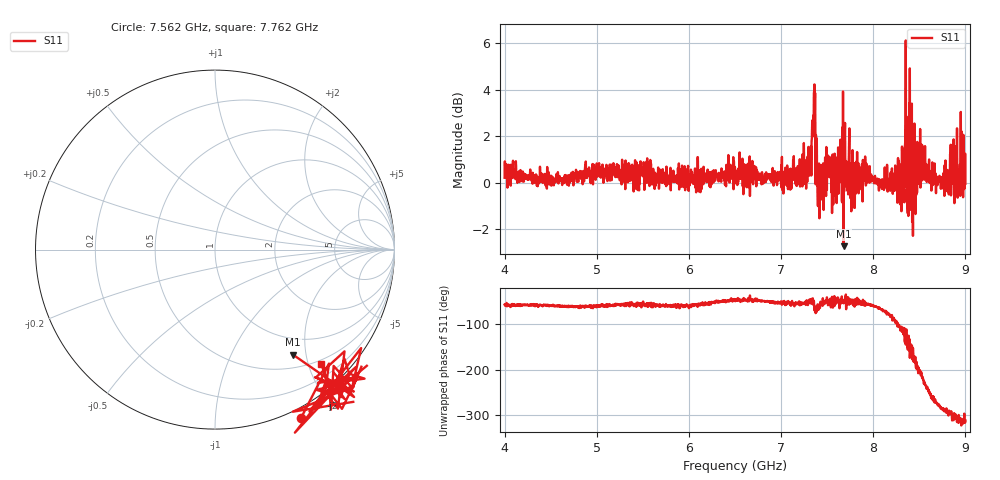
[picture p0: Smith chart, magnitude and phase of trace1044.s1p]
! Created with skrf 1.8.0 (http://scikit-rf.org).
# Hz S RI R 50.0
!freq ReS11 ImS11
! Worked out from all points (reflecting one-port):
!   1601 points, 4 GHz to 9 GHz, reference 50 ohm
!   lowest |S11| = -2.7 dB at 7.678 GHz (marker M1), VSWR 6.41, Z = 35.3 - j88.5 ohm
!   phase of S11 starts at -56 deg and turns -257 deg over the sweep
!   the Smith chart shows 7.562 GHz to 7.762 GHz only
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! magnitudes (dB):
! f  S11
! 4 GHz  0.2
! 4.625 GHz  -0.1
! 5.25 GHz  0.1
! 5.875 GHz  0.0
! 6.5 GHz  0.6
! 7.125 GHz  0.6
! 7.297 GHz  1.5
! 7.359 GHz  3.9
! 7.397 GHz  -0.6
! 7.416 GHz  -1.5
! 7.5 GHz  0.9
! 7.578 GHz  0.5
! 7.678 GHz  -2.7
! 7.75 GHz  -0.2
! 7.775 GHz  1.4
! 7.838 GHz  0.8
! 8.316 GHz  0.4
! 8.334 GHz  -0.3
! 8.356 GHz  1.3
! 8.375 GHz  -1.3
! 8.447 GHz  2.5
! 8.522 GHz  1.6
! 8.706 GHz  0.1
! 8.806 GHz  0.5
! 8.884 GHz  1.6
! 8.919 GHz  -0.1
! 8.972 GHz  0.8
! 9 GHz  0.0
